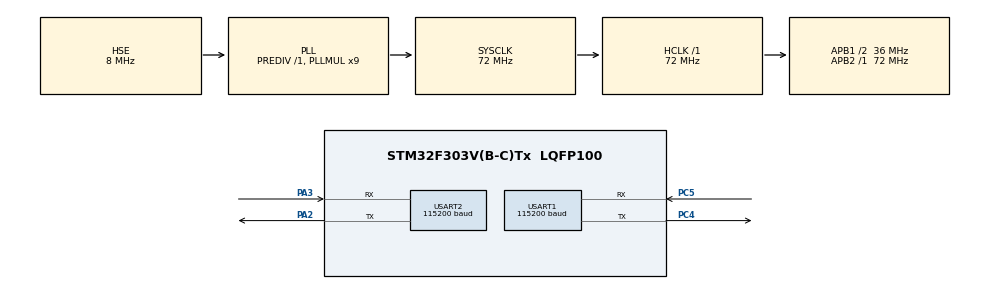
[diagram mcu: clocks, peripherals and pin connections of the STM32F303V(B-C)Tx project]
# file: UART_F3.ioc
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Mcu.Family=STM32F3
Mcu.Name=STM32F303V(B-C)Tx
Mcu.Package=LQFP100
NVIC.PriorityGroup=NVIC_PRIORITYGROUP_0
PA2.Mode=Asynchronous
PA2.Signal=USART2_TX
PA3.Mode=Asynchronous
PA3.Signal=USART2_RX
PC4.Mode=Asynchronous
PC4.Signal=USART1_TX
PC5.Mode=Asynchronous
PC5.Signal=USART1_RX
PF0-OSC_IN.Mode=HSE-External-Clock-Source
PF0-OSC_IN.Signal=RCC_OSC_IN
ProjectManager.HeapSize=0x200
ProjectManager.StackSize=0x400
ProjectManager.TargetToolchain=SW4STM32
RCC.AHBFreq_Value=72000000
RCC.APB1CLKDivider=RCC_HCLK_DIV2
RCC.APB1Freq_Value=36000000
RCC.APB1TimFreq_Value=72000000
RCC.APB2Freq_Value=72000000
RCC.APB2TimFreq_Value=72000000
RCC.CortexFreq_Value=72000000
RCC.HCLKFreq_Value=72000000
RCC.HSE_VALUE=8000000
RCC.HSI_VALUE=8000000
RCC.LSE_VALUE=32768
RCC.PLLMUL=RCC_PLL_MUL9
RCC.PLLSourceVirtual=RCC_PLLSOURCE_HSE
RCC.SYSCLKFreq_VALUE=72000000
RCC.SYSCLKSourceVirtual=RCC_SYSCLKSOURCE_PLLCLK
RCC.USBFreq_Value=72000000
USART1.BaudRate=115200
USART1.VirtualMode-Asynchronous=VM_ASYNC
USART2.BaudRate=115200
USART2.VirtualMode-Asynchronous=VM_ASYNC
board=STM32F3DISCOVERY

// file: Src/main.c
/**
  ******************************************************************************
  * File Name          : main.c
  * Description        : Main program body
  ******************************************************************************
  ** This notice applies to any and all portions of this file
  * that are not between comment pairs USER CODE BEGIN and
  * USER CODE END. Other portions of this file, whether
  * inserted by the user or by software development tools
  * are owned by their respective copyright owners.
  *
  * COPYRIGHT(c) 2017 STMicroelectronics
  *
  * Redistribution and use in source and binary forms, with or without modification,
  * are permitted provided that the following conditions are met:
  *   1. Redistributions of source code must retain the above copyright notice,
  *      this list of conditions and the following disclaimer.
  *   2. Redistributions in binary form must reproduce the above copyright notice,
  *      this list of conditions and the following disclaimer in the documentation
  *      and/or other materials provided with the distribution.
  *   3. Neither the name of STMicroelectronics nor the names of its contributors
  *      may be used to endorse or promote products derived from this software
  *      without specific prior written permission.
  *
  * THIS SOFTWARE IS PROVIDED BY THE COPYRIGHT HOLDERS AND CONTRIBUTORS "AS IS"
  * AND ANY EXPRESS OR IMPLIED WARRANTIES, INCLUDING, BUT NOT LIMITED TO, THE
  * IMPLIED WARRANTIES OF MERCHANTABILITY AND FITNESS FOR A PARTICULAR PURPOSE ARE
  * DISCLAIMED. IN NO EVENT SHALL THE COPYRIGHT HOLDER OR CONTRIBUTORS BE LIABLE
  * FOR ANY DIRECT, INDIRECT, INCIDENTAL, SPECIAL, EXEMPLARY, OR CONSEQUENTIAL
  * DAMAGES (INCLUDING, BUT NOT LIMITED TO, PROCUREMENT OF SUBSTITUTE GOODS OR
  * SERVICES; LOSS OF USE, DATA, OR PROFITS; OR BUSINESS INTERRUPTION) HOWEVER
  * CAUSED AND ON ANY THEORY OF LIABILITY, WHETHER IN CONTRACT, STRICT LIABILITY,
  * OR TORT (INCLUDING NEGLIGENCE OR OTHERWISE) ARISING IN ANY WAY OUT OF THE USE
  * OF THIS SOFTWARE, EVEN IF ADVISED OF THE POSSIBILITY OF SUCH DAMAGE.
  *
  ******************************************************************************
  */
#include "main.h"
#include "stm32f3xx_hal.h"

/* USER CODE BEGIN Includes */
#include <stdio.h>
#include <math.h>
#include <string.h>

/**
 * @addtogroup busSeriali
 * @{
 * @addtogroup UART
 * @{
 * @addtogroup UART_F3
 * @{
 *
 * @brief Implementazione dell' EOP UART F3 che comunica tramite UART1 con il EOP UART PC e tramite UART2 con l'EOP F4.
 *
 * @details
 * 			Il dispositivo viene configurato (per quanto riguarda il numero di campioni da acquisire e il formato della comunicazione dei valori acquisiti)
 * 			tramite comunicazione su UART1 da parte dell'EOP UART PC. Tale configurazione viene poi inoltrata all'EOP UART F4 che rappresenta il dispositivo
 * 			che effettivamente fa la misura.
 * 			 - Per quanto riguarda la configurazione, il dispositivo riceve informazioni riguardo il numero di cifre per campione e il numero di campioni da acquisire
 * 			(queste due "fasi" sono rispettivamente associate ai due stati della macchina chiamati ATTESA_N_CIFRE ed ATTESA_N_SAMPLES) su UART1, PC-->F3.
 * 			 - Una volta ricevuti i parametri della configurazione, l'EOP UART F3 inoltra gli stessi parametri al dispositivo a valle, così da concordare con
 * 			 quest'ultimo i paramentri della comunicazione su UART2. Ho quindi i due stati INVIOCONFNCIFRE e INVIOCONFNSAMPLES.
 * 			 - Configurati i parametri relativi ai campioni su UART2, ci si mette in attesa di ricevere i nuovi parametri dei dati, diponibili non appena l'EOP UART F4
 * 			 ha terminato il campionamento con ADC. Ho quindi i due stati RICEZCONFNCIFRE e RICEZCONFNSAMPLES.
 * 			 - A questo punto ci si mette in attesa di ricevere lo stream di dati campionati dall'EOP UART F4 (stato RICEZDATA) su UART2, per poi concludere
 * 			 con l'inoltro al PC degli stessi dati (stato INVIOPC) su UART1.
 * 			 I dati campionati sono poi processati e graficati da un algoritmo matlab, il quale è responsabile anche della definizione iniziale dei parametri
 * 			 dei campioni.
 * 			La comunicaione tra i tre EOP Uart avviene tramite bus seriale UART, in particolare PC--UART1-->F3 e F3--UART2-->F4.
 */

#define MAXBUF          10				//!< Dimensione max del buffer di comunicazione
#define BUFADC          5000			//!< Dimensione del buffer che contiene i caratteri campionati dall' EOP F4
#define MAXADC          1000			//!< Dimensione max dei campioni nel buffer ADC
#define INVIAACAPO      HAL_UART_Transmit(&huart1,"\r\n",2,10000)	//!< Macro "Invia a Capo", trasmette i caratteri di invia a capo per il debug
/* USER CODE END Includes */

UART_HandleTypeDef huart1;				//!< Handle della struttura uart1 che sarà inizializzato
UART_HandleTypeDef huart2;				//!< Handle della struttura uart2 che sarà inizializzato

/* USER CODE BEGIN PV */
/* Private variables ---------------------------------------------------------*/
uint8_t buffer[MAXBUF];  				//!< Buffer di comunicazione dei messaggi
char myChar;							//!< Carattere generico
char bufferADC[BUFADC];					//!< Buffer che contiene i caratteri convertiti ricevuti da UART F4 e successivamente trasmessi al PC
unsigned short int nSamp;				//!< Numero di campioni

/**
 * @brief Stati di esecuzione della macchina
 */
enum StatoF3 {			WELCOME, 		//!< Stato di Reset della macchina
					ATTESA_N_CIFRE, 	//!< In attesa su UART1 di conoscere il numero di cifre dei campioni da acquisire.	PC-->F3
					ATTESA_N_SAMPLES,	//!< In attesa su UART1 di conoscere il numero di campioni da acquisire. 			PC-->F3
					INVIOCONFNCIFRE,	//!< Invio su UART2 del numero di cifre di campioni da acquisire. 					F3-->F4
					INVIOCONFNSAMPLES,	//!< Invio su UART2del numero di campioni da acquisire.								F3-->F4
					RICEZCONFNCIFRE,	//!< In attesa su UART2 di conoscere il numero di cifre da acquisire da UART F4		F4-->F3
					RICEZCONFNSAMPLES,	//!< In attesa su UART2 di conoscere il numero di campioni da acquisire da UART F4	F4-->F3
					RICEZDATA, 			//!< Ricezione su UART2  dei dati acquisiti nel formato XXXX;						F4-->F3
					INVIOPC				//!< Invio su UART1 dei dati acquisiti al PC. 										F3-->PC
} myState;
/* USER CODE END PV */

void SystemClock_Config(void);

/**
 * @brief Funzione di configurazione ed inizializzazione delle periferiche GPIO utilizzate.
 */
static void MX_GPIO_Init(void);

/**
  * @brief Funzione di abilitazione ed inizializzazione della periferica UART1
  */
static void MX_USART1_UART_Init(void);

/**
  * @brief Funzione di abilitazione ed inizializzazione della periferica UART2
  */
static void MX_USART2_UART_Init(void);

/* USER CODE BEGIN PFP */
/* Private function prototypes -----------------------------------------------*/

/* USER CODE END PFP */

int main(void)
{

  /* MCU Configuration----------------------------------------------------------*/

  /* Reset of all peripherals, Initializes the Flash interface and the Systick. */
  HAL_Init();

  /* Configure the system clock */
  SystemClock_Config();

  /* Initialize all configured peripherals */
  MX_GPIO_Init();
  MX_USART1_UART_Init();
  MX_USART2_UART_Init();

  /* USER CODE BEGIN 2 */
  myState = WELCOME;						// Stato iniziale della macchina
  unsigned short int app = 0;				// Variabile di appoggio
  /* USER CODE END 2 */

  /* Infinite loop */
  while (1)
  {

  /* USER CODE BEGIN 3 */
	  switch (myState) {
	  	  case WELCOME:
	  	        HAL_UART_Transmit(&huart1,"Attesa configurazione\r\n",23,10000);	 //Scrive sul terminale del PC un messaggio
	  	  	  myState = ATTESA_N_CIFRE;		//Prossimo stato
	  	  	  break;
	  	  case ATTESA_N_CIFRE:
	  	        if (HAL_UART_Receive(&huart1,buffer,1,10000)!=0) 	// UART1 Attesa numero di cifre 			PC-->F3
	  	        	break;
	  #ifdef MYDEBUG
	  	        INVIAACAPO;
	  			HAL_UART_Transmit(&huart1,buffer,1,10000);							// Per il debug su terminale
	  #endif
	  			myState = ATTESA_N_SAMPLES;		//Prossimo stato
	  	        break;

	  	      case ATTESA_N_SAMPLES:
	  	    	app = buffer[0]-0x30;	//Cambio di formato da char a int, poichè ho bisogno di definire la dimensione del buffer
	  	    	memset(buffer,0,MAXBUF*sizeof(char));	//reset del buffer
	  #ifdef MYDEBUG
	  	        INVIAACAPO;
	  	    	HAL_UART_Transmit(&huart1,"Attesa numero campion\r\n",23,10000);	// Per il debug su terminale
	  #endif
	  	    	if(HAL_UART_Receive(&huart1,buffer,app,10000)!=0)		// UART1 Attesa numero campioni			PC-->F3
	  	        	break;
	  #ifdef MYDEBUG
	  	        INVIAACAPO;
	  	        HAL_UART_Transmit(&huart1,buffer,app,10000);						// Per il debug su terminale
	  #endif
	  	        nSamp = atoi(buffer);	//Trasformo il contenuto del buffer nel numero di campioni che mi servono, atoi converte caratteri in numeri interi
	  	        myState = INVIOCONFNCIFRE;	//Prossimo stato
	  	        break;

	  	      case INVIOCONFNCIFRE:	//vado a dire al ricevente quante cifre √® il numero di campioni e poi gli do il numero di campioni

	  	        if(HAL_UART_Transmit(&huart2,&app,1,10000)!=0)	// UART2 Invio del numero di cifre 	F3-->F4
	  	        	break;
	  #ifdef MYDEBUG
	  	        INVIAACAPO;
	  	        HAL_UART_Transmit(&huart1,"Buffer Trasmesso\r\n",16,10000);			// Per il debug su terminale
	  #endif
	  	        HAL_Delay(100);	//timeout di 100 millisecondi
	  	        myState = INVIOCONFNSAMPLES;	//Prossimo stato
	  	        break;
	  	      case INVIOCONFNSAMPLES:
	  	        sprintf(buffer,"%d",nSamp);		//copia nel buffer nSamp
	  	        if(HAL_UART_Transmit(&huart2,buffer,app,10000)!=0)	// UART2 Trasmette all'EOP F4 il numero di campioni  F3-->F4
	  	        	break;
	  #ifdef MYDEBUG
	  	        INVIAACAPO;
	  	        HAL_UART_Transmit(&huart1,"Numero di campioni \r\n",21,10000);  // Per il debug su terminale
	  	        HAL_UART_Transmit(&huart1,buffer,app,10000); //Trasmetto il numero di campioni
	  #endif
	  	        myState = RICEZCONFNCIFRE;	//Prossimo stato
	  	        break;

	  	      case RICEZCONFNCIFRE:
	  	        if(HAL_UART_Receive(&huart2,buffer,1,10000)!=0)	// UART2 Attesa numero cifre			F3-->F3
	  	        	break;
	  #ifdef MYDEBUG
	          	INVIAACAPO;
	  	        HAL_UART_Transmit(&huart1,"Numero di cifre \r\n",18,10000);
	  #endif
	  	        uint8_t dato = buffer[0]+0x30;			//converto l'intero in carattere
	  #ifdef MYDEBUG
	  	        HAL_UART_Transmit(&huart1,&dato,1,10000);  // Per il debug su terminale
	  	        INVIAACAPO;
	  #endif
	  	        myState = RICEZCONFNSAMPLES;	//Prossimo stato
	  	        break;

	  	      case RICEZCONFNSAMPLES:
	  	        app = buffer[0];	//in buffer[0] contiene la dimensione del buffer di ricezione
	  	        memset(buffer,0,MAXBUF*sizeof(char));	//azzero il buffer

	  	        if(HAL_UART_Receive(&huart2,buffer,app,10000)!=0) // UART2 Attesa numero campioni 	F4->F3
	  	        	break;
	  #ifdef MYDEBUG
	  	        INVIAACAPO;
	  	        HAL_UART_Transmit(&huart1,"Numero di campioni \r\n",21,10000);
	  	        HAL_UART_Transmit(&huart1,buffer,app,10000); // Per il debug su terminale
	  	        INVIAACAPO;
	  #endif
	  	        app = atoi(buffer);	//Trasformo il contenuto del buffer nel numero di campioni che mi servono, atoi converte caratteri in numeri interi
	  	        myState = RICEZDATA;	//Prossimo stato
	  	        break;

	  	      case RICEZDATA:
	  	        if(HAL_UART_Receive(&huart2,bufferADC,app,10000)!=0) 	// UART2 Attesa fine ricezione dei dati campionati	F4->F3
	  	        	break;
	  #ifdef MYDEBUG
	  	        INVIAACAPO;
	  	        HAL_UART_Transmit(&huart1,"Ricevuto Buffer\r\n",18,10000); // Per il debug su terminale
	  #endif
	  	        myState = INVIOPC;	//Prossimo stato
	  	        break;

	  	      case INVIOPC:
	  #ifdef MYDEBUG
	  	    	INVIAACAPO;
	  #endif
	  	    	HAL_UART_Transmit(&huart1,bufferADC,app,10000); 	// UART1 Invia al PC il buffer che contiene i caratteri campionati da ADC
	  	        INVIAACAPO;
	  	        HAL_Delay(1000);
	  	        myState = WELCOME;	//Ritorno allo stato di Reset
	  	        break;
	  	      default:
	  	        break;
	  	      }
	    }
  /* USER CODE END 3 */

}

/** System Clock Configuration
*/
void SystemClock_Config(void)
{

  RCC_OscInitTypeDef RCC_OscInitStruct;
  RCC_ClkInitTypeDef RCC_ClkInitStruct;
  RCC_PeriphCLKInitTypeDef PeriphClkInit;

    /**Initializes the CPU, AHB and APB busses clocks
    */
  RCC_OscInitStruct.OscillatorType = RCC_OSCILLATORTYPE_HSE;
  RCC_OscInitStruct.HSEState = RCC_HSE_BYPASS;
  RCC_OscInitStruct.HSEPredivValue = RCC_HSE_PREDIV_DIV1;
  RCC_OscInitStruct.HSIState = RCC_HSI_ON;
  RCC_OscInitStruct.PLL.PLLState = RCC_PLL_ON;
  RCC_OscInitStruct.PLL.PLLSource = RCC_PLLSOURCE_HSE;
  RCC_OscInitStruct.PLL.PLLMUL = RCC_PLL_MUL9;
  if (HAL_RCC_OscConfig(&RCC_OscInitStruct) != HAL_OK)
  {
    _Error_Handler(__FILE__, __LINE__);
  }

    /**Initializes the CPU, AHB and APB busses clocks
    */
  RCC_ClkInitStruct.ClockType = RCC_CLOCKTYPE_HCLK|RCC_CLOCKTYPE_SYSCLK
                              |RCC_CLOCKTYPE_PCLK1|RCC_CLOCKTYPE_PCLK2;
  RCC_ClkInitStruct.SYSCLKSource = RCC_SYSCLKSOURCE_PLLCLK;
  RCC_ClkInitStruct.AHBCLKDivider = RCC_SYSCLK_DIV1;
  RCC_ClkInitStruct.APB1CLKDivider = RCC_HCLK_DIV2;
  RCC_ClkInitStruct.APB2CLKDivider = RCC_HCLK_DIV1;

  if (HAL_RCC_ClockConfig(&RCC_ClkInitStruct, FLASH_LATENCY_2) != HAL_OK)
  {
    _Error_Handler(__FILE__, __LINE__);
  }

  PeriphClkInit.PeriphClockSelection = RCC_PERIPHCLK_USART1|RCC_PERIPHCLK_USART2;
  PeriphClkInit.Usart1ClockSelection = RCC_USART1CLKSOURCE_PCLK2;
  PeriphClkInit.Usart2ClockSelection = RCC_USART2CLKSOURCE_PCLK1;
  if (HAL_RCCEx_PeriphCLKConfig(&PeriphClkInit) != HAL_OK)
  {
    _Error_Handler(__FILE__, __LINE__);
  }

    /**Configure the Systick interrupt time
    */
  HAL_SYSTICK_Config(HAL_RCC_GetHCLKFreq()/1000);

    /**Configure the Systick
    */
  HAL_SYSTICK_CLKSourceConfig(SYSTICK_CLKSOURCE_HCLK);

  /* SysTick_IRQn interrupt configuration */
  HAL_NVIC_SetPriority(SysTick_IRQn, 0, 0);
}

/* USART1 init function */
static void MX_USART1_UART_Init(void)
{

  huart1.Instance = USART1;
  huart1.Init.BaudRate = 115200;
  huart1.Init.WordLength = UART_WORDLENGTH_8B;
  huart1.Init.StopBits = UART_STOPBITS_1;
  huart1.Init.Parity = UART_PARITY_NONE;
  huart1.Init.Mode = UART_MODE_TX_RX;
  huart1.Init.HwFlowCtl = UART_HWCONTROL_NONE;
  huart1.Init.OverSampling = UART_OVERSAMPLING_16;
  huart1.Init.OneBitSampling = UART_ONE_BIT_SAMPLE_DISABLE;
  huart1.AdvancedInit.AdvFeatureInit = UART_ADVFEATURE_NO_INIT;
  if (HAL_UART_Init(&huart1) != HAL_OK)
  {
    _Error_Handler(__FILE__, __LINE__);
  }

}

/* USART2 init function */
static void MX_USART2_UART_Init(void)
{

  huart2.Instance = USART2;
  huart2.Init.BaudRate = 115200;
  huart2.Init.WordLength = UART_WORDLENGTH_8B;
  huart2.Init.StopBits = UART_STOPBITS_1;
  huart2.Init.Parity = UART_PARITY_NONE;
  huart2.Init.Mode = UART_MODE_TX_RX;
  huart2.Init.HwFlowCtl = UART_HWCONTROL_NONE;
  huart2.Init.OverSampling = UART_OVERSAMPLING_16;
  huart2.Init.OneBitSampling = UART_ONE_BIT_SAMPLE_DISABLE;
  huart2.AdvancedInit.AdvFeatureInit = UART_ADVFEATURE_NO_INIT;
  if (HAL_UART_Init(&huart2) != HAL_OK)
  {
    _Error_Handler(__FILE__, __LINE__);
  }

}

/** Configure pins as
        * Analog
        * Input
        * Output
        * EVENT_OUT
        * EXTI
*/
static void MX_GPIO_Init(void)
{

  /* GPIO Ports Clock Enable */
  __HAL_RCC_GPIOF_CLK_ENABLE();
  __HAL_RCC_GPIOA_CLK_ENABLE();
  __HAL_RCC_GPIOC_CLK_ENABLE();

}

void _Error_Handler(char * file, int line)
{
  while(1)
  {
  }
}

/** @} @} @} */

/************************ (C) COPYRIGHT STMicroelectronics *****END OF FILE****/
